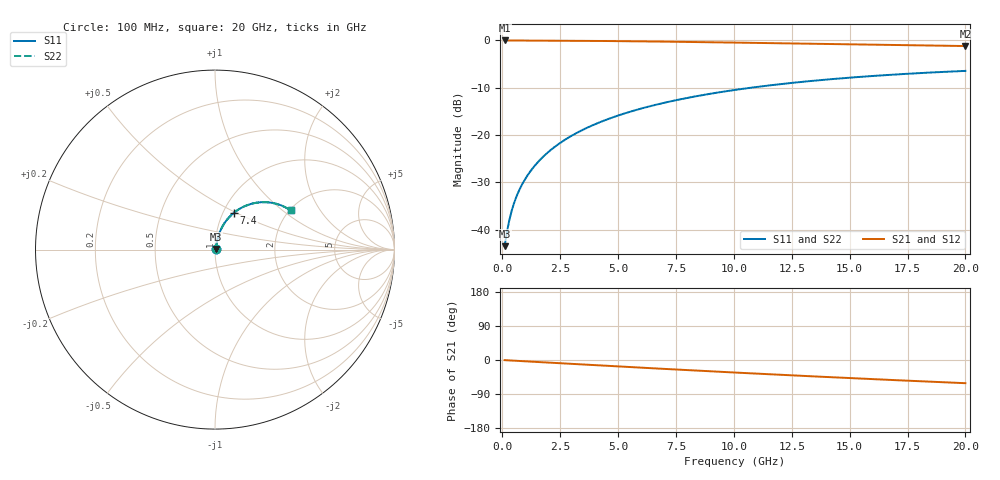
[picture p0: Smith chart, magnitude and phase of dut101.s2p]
! Touchstone file exported from HFSS 2026.1.0
!  File:  C:/ffzhzh/LocalFiles/Ansys_Project_Files/temp_train_TMRDL_101_1782982290_40604.aedt
!  Generated:  04:53:10 PM Jul  2, 2026
!  Design:  TMRDL
!  Project:  temp_train_TMRDL_101_1782982290_40604
! Variables:
!  h_bsmrdl = 2um
!  h_ox = 20um
!  h_rdl = 5um
!  h_sub = 80um
!  h_tmrdl = 2.25um
!  h_tsv = 80um
!  h_via = 3um
!  l_bsmrdl = 300um
!  l_sub = 1359.22um
!  l_tmrdl = 959.22um
!  m_sub = 200um
!  pitch = 56.12um
!  r_tsv = 6um
!  s_tmrdl = 10um
!  w_bsmrdl = 18um
!  w_sub = 500um
!  w_tmrdl = 28.92um
!  x_tsv_center1 = 973.68um
!  x_tsv_center2 = 1291.68um
!  x_tsv_center3 = 2279.82um
!  x_tsv_center4 = 2597.82um
!  x_tsv_center5 = 3585.96um
!  x_tsv_center6 = 3903.96um
# GHz S MA R 50.000000
! Terminal data exported
! Port[1] = TM_RDL1_1_T1
! Port[2] = TM_RDL1_1_T2
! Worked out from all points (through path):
!   200 points, 100 MHz to 20 GHz, reference 50 ohm
!   highest |S21| = -0.05 dB at 100 MHz (marker M1); lowest = -1.2 dB at 20 GHz (marker M2)
!   group delay of S21, straight-line fit = 8.51 ps
!   lowest |S11| = -43.5 dB at 100 MHz (marker M3), VSWR 1.01, Z = 50.6 + j0.374 ohm
!   |S11| at or under -10 dB: start of sweep to 10.79 GHz
!   |S22| runs from -43.5 to -6.5 dB; largest |S21 - S12| = 8.5e-14
!   S11 on the Smith chart (normalised r, x): 100 MHz: 1.01, +0.01; 7.4 GHz: 1.12, +0.48; 20 GHz: 2.02, +1.14
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0.1  0.006672 33.6  0.9945 -0.4  0.9945 -0.4  0.006672 33.6
! Gamma 0 0 0 0
! Port Impedance 50 0 50 0
0.2  0.009355 51.3  0.9942 -0.7  0.9942 -0.7  0.009355 51.3
0.3  0.01245 59.8  0.9939 -1.1  0.9939 -1.1  0.01245 59.8
0.4  0.01562 64.6  0.9936 -1.4  0.9936 -1.4  0.01562 64.6
0.5  0.01878 67.6  0.9932 -1.8  0.9932 -1.8  0.01878 67.6
0.6  0.02193 69.8  0.993 -2.1  0.993 -2.1  0.02193 69.8
0.8  0.02821 72.5  0.9925 -2.8  0.9925 -2.8  0.02821 72.5
1.1  0.03766 74.8  0.9919 -3.8  0.9919 -3.8  0.03766 74.8
1.3  0.044 75.6  0.9915 -4.5  0.9915 -4.5  0.044 75.6
1.6  0.05355 76.3  0.9909 -5.5  0.9909 -5.5  0.05355 76.3
2.1  0.0695 76.3  0.9898 -7.2  0.9898 -7.2  0.0695 76.3
2.7  0.0886 75.6  0.9881 -9.2  0.9881 -9.2  0.0886 75.6
3.5  0.1139 73.9  0.9853 -11.9  0.9853 -11.9  0.1139 74.0
4.2  0.1356 72.2  0.9824 -14.3  0.9824 -14.3  0.1356 72.2
5  0.1601 70.0  0.9785 -16.9  0.9785 -16.9  0.1601 70.0
6.8  0.2128 64.7  0.9679 -22.8  0.9679 -22.8  0.2128 64.7
7.4  0.2296 62.9  0.9639 -24.8  0.9639 -24.8  0.2296 62.9
8.7  0.2646 59.0  0.9545 -28.9  0.9545 -28.9  0.2646 59.0
10.1  0.2998 54.8  0.9437 -33.3  0.9437 -33.3  0.2998 54.8
13.4  0.3724 45.2  0.9168 -43.1  0.9168 -43.1  0.3724 45.2
16.7  0.4303 36.1  0.8908 -52.4  0.8908 -52.4  0.4303 36.1
20  0.4742 27.5  0.8681 -61.2  0.8681 -61.2  0.4742 27.5
